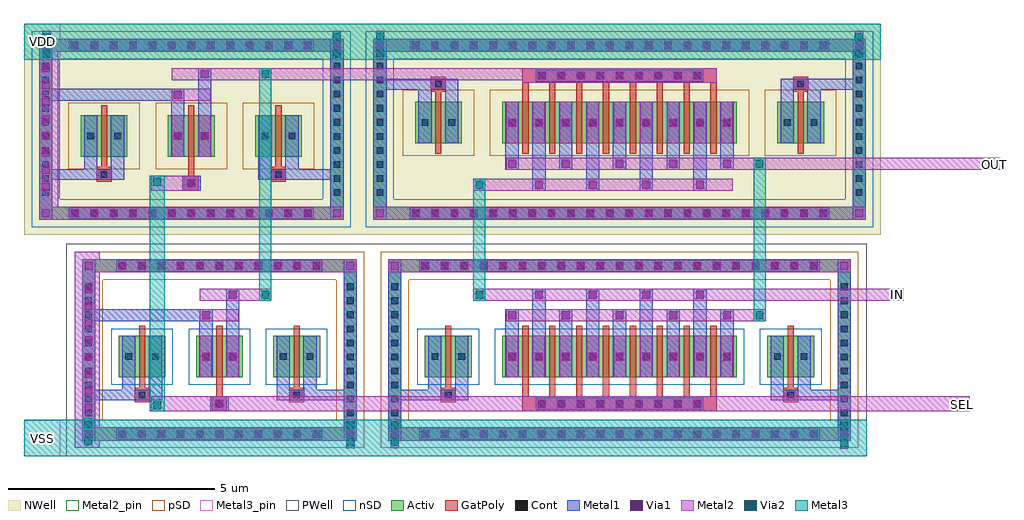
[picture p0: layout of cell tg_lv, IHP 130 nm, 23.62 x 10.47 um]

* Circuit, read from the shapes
.subckt tg_lv IN OUT SEL VDD VSS
XM1 VSS VSS VSS VSS sg13_lv_nmos w=1u l=0.15u m=4
XM2 n1 SEL VSS VSS sg13_lv_nmos w=1u l=0.15u
XM3 IN SEL OUT VSS sg13_lv_nmos w=1u l=0.15u m=8
XM4 VDD VDD VDD VDD sg13_lv_pmos w=1u l=0.15u m=4
XM5 n1 SEL VDD VDD sg13_lv_pmos w=1u l=0.15u
XM6 IN n1 OUT VDD sg13_lv_pmos w=1u l=0.15u m=8
.ends

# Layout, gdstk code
import gdstk
lib = gdstk.Library(unit=1e-6, precision=1e-09)
def R(c, l, rs):  # rectangles x0, y0, x1, y1
    for r in rs: c.add(gdstk.rectangle(r[:2], r[2:], *l))
def A(c, l, x, y, w, h, nx, ny, dx, dy):  # array of equal rectangles
    R(c, l, [(x+i*dx, y+j*dy, x+i*dx+w, y+j*dy+h) for i in range(nx) for j in range(ny)])
def P(c, l, *ps):  # polygons
    for p in ps: c.add(gdstk.Polygon(p, *l))
Activ = (1, 0)
GatPoly = (5, 0)
Cont = (6, 0)
nSD = (7, 0)
Metal1 = (8, 0)
Metal2 = (10, 0)
Metal2_pin = (10, 2)
pSD = (14, 0)
Via1 = (19, 0)
Via2 = (29, 0)
Metal3 = (30, 0)
Metal3_pin = (30, 2)
NWell = (31, 0)
PWell = (46, 0)

via_stack_1 = lib.new_cell('via_stack$1')
R(via_stack_1, Metal2, [(-0.1,-0.35,0.1,0.35)])
R(via_stack_1, Via2, [(-0.095,-0.3,0.095,-0.11), (-0.095,0.11,0.095,0.3)])
R(via_stack_1, Metal3, [(-0.1,-0.35,0.1,0.35)])

via_stack = lib.new_cell('via_stack')
R(via_stack, Metal1, [(-0.105,-1.58,0.105,1.58)])
R(via_stack, Metal2, [(-0.1,-1.58,0.1,1.58)])
A(via_stack, Via1, -0.095, -1.53, 0.19, 0.19, 1, 8, 0, 0.41)

tg_lv = lib.new_cell('tg_lv')
A(tg_lv, Activ, -12.195, -2.194, 0.32, 0.32, 11, 2, 0.47, 4.068)
A(tg_lv, Activ, -4.86, -2.194, 0.32, 0.32, 21, 2, 0.47, 4.068)
A(tg_lv, Activ, -13.011, -1.69, 0.32, 0.32, 1, 10, 0, 0.34)
A(tg_lv, Activ, -6.679, -1.69, 0.32, 0.32, 1, 10, 0, 0.34)
A(tg_lv, Activ, -5.6, -1.69, 0.32, 0.32, 1, 10, 0, 0.34)
A(tg_lv, Activ, 5.28, -1.69, 0.32, 0.32, 1, 10, 0, 0.34)
A(tg_lv, Activ, -12.12, -0.662, 1.13, 1, 3, 1, 1.87, 0)
A(tg_lv, Activ, -13.345, 3.146, 0.32, 0.32, 13, 2, 0.47, 4.068)
A(tg_lv, Activ, -5.095, 3.146, 0.32, 0.32, 22, 2, 0.47, 4.068)
A(tg_lv, Activ, -14.05, 3.65, 0.32, 0.32, 1, 10, 0, 0.34)
A(tg_lv, Activ, -7, 3.65, 0.32, 0.32, 1, 10, 0, 0.34)
A(tg_lv, Activ, -5.96, 3.65, 0.32, 0.32, 1, 10, 0, 0.34)
A(tg_lv, Activ, 5.64, 3.65, 0.32, 0.32, 1, 10, 0, 0.34)
A(tg_lv, Activ, -13.04, 4.678, 1.13, 1, 3, 1, 2.11, 0)
R(tg_lv, Activ, [(-12.195,-2.194,-7.175,-1.874), (-4.86,-2.194,4.86,-1.874), (-13.011,-1.69,-12.691,1.69), (-6.679,-1.69,-6.359,1.69), (-5.6,-1.69,-5.28,1.69), (5.28,-1.69,5.6,1.69), (-4.71,-0.662,-3.58,0.338), (-2.84,-0.662,2.84,0.338), (3.58,-0.662,4.71,0.338), (-12.195,1.874,-7.175,2.194), (-4.86,1.874,4.86,2.194), (-13.345,3.146,-7.385,3.466), (-5.095,3.146,5.095,3.466), (-14.05,3.65,-13.73,7.03), (-7,3.65,-6.68,7.03), (-5.96,3.65,-5.64,7.03), (5.64,3.65,5.96,7.03), (-4.95,5.002,-3.82,6.002), (-2.84,5.002,2.84,6.002), (3.82,5.002,4.95,6.002), (-13.345,7.214,-7.385,7.534), (-5.095,7.214,5.095,7.534)])
P(tg_lv, Activ, [(-5.6,-2.194),(-5.6,-1.874),(-5.28,-1.874),(5.28,-1.874),(5.28,1.874),(-5.28,1.874),(-5.28,-1.874),(-5.6,-1.874),(-5.6,2.194),(5.6,2.194),(5.6,-2.194)],
  [(-13.011,-2.194),(-13.011,-1.874),(-12.691,-1.874),(-6.679,-1.874),(-6.679,1.874),(-12.691,1.874),(-12.691,-1.874),(-13.011,-1.874),(-13.011,2.194),(-6.359,2.194),(-6.359,-2.194)],
  [(-14.05,3.146),(-14.05,3.466),(-13.73,3.466),(-7,3.466),(-7,7.214),(-13.73,7.214),(-13.73,3.466),(-14.05,3.466),(-14.05,7.534),(-6.68,7.534),(-6.68,3.146)],
  [(-5.96,3.146),(-5.96,7.214),(-5.64,7.214),(-5.64,3.466),(5.64,3.466),(5.64,7.214),(-5.64,7.214),(-5.96,7.214),(-5.96,7.534),(5.96,7.534),(5.96,3.146)])
A(tg_lv, GatPoly, -2.35, -1.122, 0.15, 0.21, 8, 2, 0.65, 7.374)
A(tg_lv, GatPoly, -11.63, -0.912, 0.15, 1.5, 3, 1, 1.87, 0)
A(tg_lv, GatPoly, -2.35, -0.912, 0.15, 1.5, 8, 2, 0.65, 5.664)
A(tg_lv, GatPoly, -12.55, 4.428, 0.15, 1.5, 3, 1, 2.11, 0)
R(tg_lv, GatPoly, [(-9.865,-1.482,-9.505,-1.122), (-9.865,-1.482,-9.505,-1.122), (-9.865,-1.482,-9.505,-1.122), (-9.865,-1.482,-9.505,-1.122), (-2.35,-1.482,2.35,-1.122), (-2.35,-1.482,2.35,-1.122), (-2.06,-1.482,-1.7,-1.122), (-2.06,-1.482,-1.7,-1.122), (-1.59,-1.482,-1.23,-1.122), (-1.59,-1.482,-1.23,-1.122), (-1.12,-1.482,-0.76,-1.122), (-1.12,-1.482,-0.76,-1.122), (-0.65,-1.482,-0.29,-1.122), (-0.65,-1.482,-0.29,-1.122), (-0.18,-1.482,0.18,-1.122), (-0.18,-1.482,0.18,-1.122), (0.29,-1.482,0.65,-1.122), (0.29,-1.482,0.65,-1.122), (0.76,-1.482,1.12,-1.122), (0.76,-1.482,1.12,-1.122), (1.23,-1.482,1.59,-1.122), (1.23,-1.482,1.59,-1.122), (1.7,-1.482,2.06,-1.122), (1.7,-1.482,2.06,-1.122), (-11.735,-1.272,-11.375,-0.912), (-11.735,-1.272,-11.375,-0.912), (-7.995,-1.272,-7.635,-0.912), (-7.995,-1.272,-7.635,-0.912), (-4.325,-1.272,-3.965,-0.912), (-4.325,-1.272,-3.965,-0.912), (3.965,-1.272,4.325,-0.912), (3.965,-1.272,4.325,-0.912), (-9.76,-1.122,-9.61,-0.912), (-4.22,-0.912,-4.07,0.588), (4.07,-0.912,4.22,0.588), (-10.545,3.858,-10.185,4.218), (-10.545,3.858,-10.185,4.218), (-10.545,3.858,-10.185,4.218), (-10.545,3.858,-10.185,4.218), (-12.655,4.068,-12.295,4.428), (-12.655,4.068,-12.295,4.428), (-8.435,4.068,-8.075,4.428), (-8.435,4.068,-8.075,4.428), (-10.44,4.218,-10.29,4.428), (-4.46,4.752,-4.31,6.252), (4.31,4.752,4.46,6.252), (-4.565,6.252,-4.205,6.612), (-4.565,6.252,-4.205,6.612), (4.205,6.252,4.565,6.612), (4.205,6.252,4.565,6.612), (-2.35,6.462,2.35,6.822), (-2.35,6.462,2.35,6.822), (-2.06,6.462,-1.7,6.822), (-2.06,6.462,-1.7,6.822), (-1.59,6.462,-1.23,6.822), (-1.59,6.462,-1.23,6.822), (-1.12,6.462,-0.76,6.822), (-1.12,6.462,-0.76,6.822), (-0.65,6.462,-0.29,6.822), (-0.65,6.462,-0.29,6.822), (-0.18,6.462,0.18,6.822), (-0.18,6.462,0.18,6.822), (0.29,6.462,0.65,6.822), (0.29,6.462,0.65,6.822), (0.76,6.462,1.12,6.822), (0.76,6.462,1.12,6.822), (1.23,6.462,1.59,6.822), (1.23,6.462,1.59,6.822), (1.7,6.462,2.06,6.822), (1.7,6.462,2.06,6.822)])
A(tg_lv, Cont, -12.115, -2.114, 0.16, 0.16, 11, 2, 0.47, 4.068)
A(tg_lv, Cont, -4.78, -2.114, 0.16, 0.16, 21, 2, 0.47, 4.068)
A(tg_lv, Cont, -12.931, -1.61, 0.16, 0.16, 1, 10, 0, 0.34)
A(tg_lv, Cont, -6.599, -1.61, 0.16, 0.16, 1, 10, 0, 0.34)
A(tg_lv, Cont, -5.52, -1.61, 0.16, 0.16, 1, 10, 0, 0.34)
A(tg_lv, Cont, 5.36, -1.61, 0.16, 0.16, 1, 10, 0, 0.34)
A(tg_lv, Cont, -2.68, -0.242, 0.16, 0.16, 9, 2, 0.65, 5.664)
A(tg_lv, Cont, -13.265, 3.226, 0.16, 0.16, 13, 2, 0.47, 4.068)
A(tg_lv, Cont, -5.015, 3.226, 0.16, 0.16, 22, 2, 0.47, 4.068)
A(tg_lv, Cont, -13.97, 3.73, 0.16, 0.16, 1, 10, 0, 0.34)
A(tg_lv, Cont, -6.92, 3.73, 0.16, 0.16, 1, 10, 0, 0.34)
A(tg_lv, Cont, -5.88, 3.73, 0.16, 0.16, 1, 10, 0, 0.34)
A(tg_lv, Cont, 5.72, 3.73, 0.16, 0.16, 1, 10, 0, 0.34)
R(tg_lv, Cont, [(-9.765,-1.382,-9.605,-1.222), (-9.765,-1.382,-9.605,-1.222), (-1.96,-1.382,-1.8,-1.222), (-1.96,-1.382,-1.8,-1.222), (-1.49,-1.382,-1.33,-1.222), (-1.49,-1.382,-1.33,-1.222), (-1.02,-1.382,-0.86,-1.222), (-1.02,-1.382,-0.86,-1.222), (-0.55,-1.382,-0.39,-1.222), (-0.55,-1.382,-0.39,-1.222), (-0.08,-1.382,0.08,-1.222), (-0.08,-1.382,0.08,-1.222), (0.39,-1.382,0.55,-1.222), (0.39,-1.382,0.55,-1.222), (0.86,-1.382,1.02,-1.222), (0.86,-1.382,1.02,-1.222), (1.33,-1.382,1.49,-1.222), (1.33,-1.382,1.49,-1.222), (1.8,-1.382,1.96,-1.222), (1.8,-1.382,1.96,-1.222), (-11.635,-1.172,-11.475,-1.012), (-7.895,-1.172,-7.735,-1.012), (-4.225,-1.172,-4.065,-1.012), (4.065,-1.172,4.225,-1.012), (-11.96,-0.242,-11.8,-0.082), (-11.31,-0.242,-11.15,-0.082), (-10.09,-0.242,-9.93,-0.082), (-9.44,-0.242,-9.28,-0.082), (-8.22,-0.242,-8.06,-0.082), (-7.57,-0.242,-7.41,-0.082), (-4.55,-0.242,-4.39,-0.082), (-3.9,-0.242,-3.74,-0.082), (3.74,-0.242,3.9,-0.082), (4.39,-0.242,4.55,-0.082), (-10.445,3.958,-10.285,4.118), (-10.445,3.958,-10.285,4.118), (-12.555,4.168,-12.395,4.328), (-8.335,4.168,-8.175,4.328), (-12.88,5.098,-12.72,5.258), (-12.23,5.098,-12.07,5.258), (-10.77,5.098,-10.61,5.258), (-10.12,5.098,-9.96,5.258), (-8.66,5.098,-8.5,5.258), (-8.01,5.098,-7.85,5.258), (-4.79,5.422,-4.63,5.582), (-4.14,5.422,-3.98,5.582), (3.98,5.422,4.14,5.582), (4.63,5.422,4.79,5.582), (-4.465,6.352,-4.305,6.512), (4.305,6.352,4.465,6.512), (-1.96,6.562,-1.8,6.722), (-1.96,6.562,-1.8,6.722), (-1.49,6.562,-1.33,6.722), (-1.49,6.562,-1.33,6.722), (-1.02,6.562,-0.86,6.722), (-1.02,6.562,-0.86,6.722), (-0.55,6.562,-0.39,6.722), (-0.55,6.562,-0.39,6.722), (-0.08,6.562,0.08,6.722), (-0.08,6.562,0.08,6.722), (0.39,6.562,0.55,6.722), (0.39,6.562,0.55,6.722), (0.86,6.562,1.02,6.722), (0.86,6.562,1.02,6.722), (1.33,6.562,1.49,6.722), (1.33,6.562,1.49,6.722), (1.8,6.562,1.96,6.722), (1.8,6.562,1.96,6.722)])
A(tg_lv, nSD, -12.3, -0.842, 1.49, 1.36, 3, 1, 1.87, 0)
R(tg_lv, nSD, [(-4.89,-0.842,-3.4,0.518), (-3.02,-0.842,3.02,0.518), (3.4,-0.842,4.89,0.518)])
P(tg_lv, nSD, [(-14.23,2.966),(-14.23,3.646),(-13.55,3.646),(-7.18,3.646),(-7.18,7.034),(-13.55,7.034),(-13.55,3.646),(-14.23,3.646),(-14.23,7.714),(-6.5,7.714),(-6.5,2.966)],
  [(-6.14,2.966),(-6.14,7.034),(-5.46,7.034),(-5.46,3.646),(5.46,3.646),(5.46,7.034),(-5.46,7.034),(-6.14,7.034),(-6.14,7.714),(6.14,7.714),(6.14,2.966)])
A(tg_lv, Metal1, -12.18, -2.179, 0.29, 0.29, 11, 2, 0.47, 4.068)
A(tg_lv, Metal1, -4.845, -2.179, 0.29, 0.29, 21, 2, 0.47, 4.068)
A(tg_lv, Metal1, -12.981, -1.66, 0.26, 0.26, 1, 10, 0, 0.34)
A(tg_lv, Metal1, -6.649, -1.66, 0.26, 0.26, 1, 10, 0, 0.34)
A(tg_lv, Metal1, -5.57, -1.66, 0.26, 0.26, 1, 10, 0, 0.34)
A(tg_lv, Metal1, 5.31, -1.66, 0.26, 0.26, 1, 10, 0, 0.34)
A(tg_lv, Metal1, -2.76, -0.662, 0.32, 1, 9, 2, 0.65, 5.664)
A(tg_lv, Metal1, -2.73, -0.292, 0.26, 0.26, 9, 2, 0.65, 5.664)
A(tg_lv, Metal1, -2.76, 0.338, 0.32, 0.645, 5, 2, 1.3, 4.019)
A(tg_lv, Metal1, -2.11, 0.338, 0.32, 1.145, 4, 2, 1.3, 3.519)
A(tg_lv, Metal1, -2.745, 0.693, 0.29, 0.29, 5, 2, 1.3, 3.664)
A(tg_lv, Metal1, -2.095, 1.193, 0.29, 0.29, 4, 2, 1.3, 2.664)
A(tg_lv, Metal1, -13.33, 3.161, 0.29, 0.29, 13, 2, 0.47, 4.068)
A(tg_lv, Metal1, -5.08, 3.161, 0.29, 0.29, 22, 2, 0.47, 4.068)
A(tg_lv, Metal1, -14.02, 3.68, 0.26, 0.26, 1, 10, 0, 0.34)
A(tg_lv, Metal1, -6.97, 3.68, 0.26, 0.26, 1, 10, 0, 0.34)
A(tg_lv, Metal1, -5.93, 3.68, 0.26, 0.26, 1, 10, 0, 0.34)
A(tg_lv, Metal1, 5.67, 3.68, 0.26, 0.26, 1, 10, 0, 0.34)
R(tg_lv, Metal1, [(-13.011,-2.194,-12.691,-1.874), (-6.679,-2.194,-6.359,-1.874), (-5.6,-2.194,-5.28,-1.874), (5.28,-2.194,5.6,-1.874), (-12.996,-2.179,-12.706,-1.889), (-12.996,-2.179,-12.706,-1.889), (-12.18,-2.179,-7.19,-1.889), (-6.664,-2.179,-6.374,-1.889), (-6.664,-2.179,-6.374,-1.889), (-5.585,-2.179,-5.295,-1.889), (-5.585,-2.179,-5.295,-1.889), (-4.845,-2.179,4.845,-1.889), (5.295,-2.179,5.585,-1.889), (5.295,-2.179,5.585,-1.889), (-13.011,-1.874,-12.691,1.874), (-6.679,-1.874,-6.359,1.874), (-5.6,-1.874,-5.28,1.874), (5.28,-1.874,5.6,1.874), (-9.91,-1.482,-9.46,-1.122), (-9.83,-1.447,-9.54,-1.157), (-9.83,-1.447,-9.54,-1.157), (-9.83,-1.447,-9.54,-1.157), (-9.83,-1.447,-9.54,-1.157), (-2.025,-1.447,-1.735,-1.157), (-2.025,-1.447,-1.735,-1.157), (-2.025,-1.447,2.025,-1.157), (-2.025,-1.447,2.025,-1.157), (-1.555,-1.447,-1.265,-1.157), (-1.555,-1.447,-1.265,-1.157), (-1.085,-1.447,-0.795,-1.157), (-1.085,-1.447,-0.795,-1.157), (-0.615,-1.447,-0.325,-1.157), (-0.615,-1.447,-0.325,-1.157), (-0.145,-1.447,0.145,-1.157), (-0.145,-1.447,0.145,-1.157), (0.325,-1.447,0.615,-1.157), (0.325,-1.447,0.615,-1.157), (0.795,-1.447,1.085,-1.157), (0.795,-1.447,1.085,-1.157), (1.265,-1.447,1.555,-1.157), (1.265,-1.447,1.555,-1.157), (1.735,-1.447,2.025,-1.157), (1.735,-1.447,2.025,-1.157), (-13.011,-1.222,-11.685,-0.962), (-12.04,-1.222,-11.685,-0.962), (-12.04,-1.222,-11.72,-0.662), (-11.685,-1.222,-11.425,-0.962), (-11.425,-1.222,-11.07,-0.962), (-11.39,-1.222,-11.07,-0.662), (-8.3,-1.222,-7.945,-0.962), (-8.3,-1.222,-7.98,-0.662), (-7.945,-1.222,-7.685,-0.962), (-7.945,-1.222,-6.359,-0.962), (-7.685,-1.222,-7.33,-0.962), (-7.65,-1.222,-7.33,-0.662), (-5.6,-1.222,-4.275,-0.962), (-4.63,-1.222,-4.275,-0.962), (-4.63,-1.222,-4.31,-0.662), (-4.275,-1.222,-4.015,-0.962), (-4.015,-1.222,-3.66,-0.962), (-3.98,-1.222,-3.66,-0.662), (3.66,-1.222,4.015,-0.962), (3.66,-1.222,3.98,-0.662), (4.015,-1.222,4.275,-0.962), (4.015,-1.222,5.6,-0.962), (4.275,-1.222,4.63,-0.962), (4.31,-1.222,4.63,-0.662), (-12.04,-0.662,-11.72,0.338), (-11.39,-0.662,-11.07,0.338), (-10.17,-0.662,-9.85,0.338), (-9.52,-0.662,-9.2,0.338), (-8.3,-0.662,-7.98,0.338), (-7.65,-0.662,-7.33,0.338), (-4.63,-0.662,-4.31,0.338), (-3.98,-0.662,-3.66,0.338), (3.66,-0.662,3.98,0.338), (4.31,-0.662,4.63,0.338), (-10.155,-0.307,-9.865,-0.017), (-10.155,-0.307,-9.865,-0.017), (-9.505,-0.307,-9.215,-0.017), (-9.505,-0.307,-9.215,-0.017), (-2.745,-0.307,-2.455,-0.017), (-2.745,-0.307,-2.455,-0.017), (-2.095,-0.307,-1.805,-0.017), (-2.095,-0.307,-1.805,-0.017), (-1.445,-0.307,-1.155,-0.017), (-1.445,-0.307,-1.155,-0.017), (-0.795,-0.307,-0.505,-0.017), (-0.795,-0.307,-0.505,-0.017), (-0.145,-0.307,0.145,-0.017), (-0.145,-0.307,0.145,-0.017), (0.505,-0.307,0.795,-0.017), (0.505,-0.307,0.795,-0.017), (1.155,-0.307,1.445,-0.017), (1.155,-0.307,1.445,-0.017), (1.805,-0.307,2.095,-0.017), (1.805,-0.307,2.095,-0.017), (2.455,-0.307,2.745,-0.017), (2.455,-0.307,2.745,-0.017), (-12.01,-0.292,-11.75,-0.032), (-11.36,-0.292,-11.1,-0.032), (-10.14,-0.292,-9.88,-0.032), (-9.49,-0.292,-9.23,-0.032), (-8.27,-0.292,-8.01,-0.032), (-7.62,-0.292,-7.36,-0.032), (-4.6,-0.292,-4.34,-0.032), (-3.95,-0.292,-3.69,-0.032), (3.69,-0.292,3.95,-0.032), (4.34,-0.292,4.6,-0.032), (-10.17,0.338,-9.85,0.983), (-9.52,0.338,-9.2,1.483), (-13.011,0.693,-10.155,0.983), (-10.155,0.693,-9.865,0.983), (-10.155,0.693,-9.865,0.983), (-10.155,0.693,-9.865,0.983), (-9.505,1.193,-9.215,1.483), (-13.011,1.874,-12.691,2.194), (-6.679,1.874,-6.359,2.194), (-5.6,1.874,-5.28,2.194), (5.28,1.874,5.6,2.194), (-12.996,1.889,-12.706,2.179), (-12.996,1.889,-12.706,2.179), (-12.18,1.889,-7.19,2.179), (-6.664,1.889,-6.374,2.179), (-6.664,1.889,-6.374,2.179), (-5.585,1.889,-5.295,2.179), (-5.585,1.889,-5.295,2.179), (-4.845,1.889,4.845,2.179), (5.295,1.889,5.585,2.179), (5.295,1.889,5.585,2.179), (-14.05,3.146,-13.73,3.466), (-7,3.146,-6.68,3.466), (-5.96,3.146,-5.64,3.466), (5.64,3.146,5.96,3.466), (-14.035,3.161,-13.745,3.451), (-14.035,3.161,-13.745,3.451), (-13.33,3.161,-7.4,3.451), (-6.985,3.161,-6.695,3.451), (-6.985,3.161,-6.695,3.451), (-5.945,3.161,-5.655,3.451), (-5.945,3.161,-5.655,3.451), (-5.08,3.161,5.08,3.451), (5.655,3.161,5.945,3.451), (5.655,3.161,5.945,3.451), (-14.05,3.466,-13.73,7.214), (-7,3.466,-6.68,7.214), (-5.96,3.466,-5.64,7.214), (5.64,3.466,5.96,7.214), (-10.59,3.858,-10.14,4.218), (-10.51,3.893,-10.22,4.183), (-10.51,3.893,-10.22,4.183), (-10.51,3.893,-10.22,4.183), (-10.51,3.893,-10.22,4.183), (-14.05,4.118,-12.605,4.378), (-12.96,4.118,-12.605,4.378), (-12.96,4.118,-12.64,4.678), (-12.605,4.118,-12.345,4.378), (-12.345,4.118,-11.99,4.378), (-12.31,4.118,-11.99,4.678), (-8.74,4.118,-8.385,4.378), (-8.74,4.118,-8.42,4.678), (-8.385,4.118,-8.125,4.378), (-8.385,4.118,-6.68,4.378), (-8.125,4.118,-7.77,4.378), (-8.09,4.118,-7.77,4.678), (-12.96,4.678,-12.64,5.678), (-12.31,4.678,-11.99,5.678), (-10.85,4.678,-10.53,5.678), (-10.2,4.678,-9.88,5.678), (-8.74,4.678,-8.42,5.678), (-8.09,4.678,-7.77,5.678), (-4.87,5.002,-4.55,6.002), (-4.22,5.002,-3.9,6.002), (3.9,5.002,4.22,6.002), (4.55,5.002,4.87,6.002), (-10.835,5.033,-10.545,5.323), (-10.835,5.033,-10.545,5.323), (-10.185,5.033,-9.895,5.323), (-10.185,5.033,-9.895,5.323), (-12.93,5.048,-12.67,5.308), (-12.28,5.048,-12.02,5.308), (-10.82,5.048,-10.56,5.308), (-10.17,5.048,-9.91,5.308), (-8.71,5.048,-8.45,5.308), (-8.06,5.048,-7.8,5.308), (-2.745,5.357,-2.455,5.647), (-2.745,5.357,-2.455,5.647), (-2.095,5.357,-1.805,5.647), (-2.095,5.357,-1.805,5.647), (-1.445,5.357,-1.155,5.647), (-1.445,5.357,-1.155,5.647), (-0.795,5.357,-0.505,5.647), (-0.795,5.357,-0.505,5.647), (-0.145,5.357,0.145,5.647), (-0.145,5.357,0.145,5.647), (0.505,5.357,0.795,5.647), (0.505,5.357,0.795,5.647), (1.155,5.357,1.445,5.647), (1.155,5.357,1.445,5.647), (1.805,5.357,2.095,5.647), (1.805,5.357,2.095,5.647), (2.455,5.357,2.745,5.647), (2.455,5.357,2.745,5.647), (-4.84,5.372,-4.58,5.632), (-4.19,5.372,-3.93,5.632), (3.93,5.372,4.19,5.632), (4.58,5.372,4.84,5.632), (-10.85,5.678,-10.53,6.323), (-10.2,5.678,-9.88,6.823), (-4.87,6.002,-4.55,6.562), (-4.22,6.002,-3.9,6.562), (3.9,6.002,4.22,6.562), (4.55,6.002,4.87,6.562), (-14.05,6.033,-10.835,6.323), (-10.835,6.033,-10.545,6.323), (-10.835,6.033,-10.545,6.323), (-10.835,6.033,-10.545,6.323), (-5.96,6.302,-4.515,6.562), (-4.87,6.302,-4.515,6.562), (-4.515,6.302,-4.255,6.562), (-4.255,6.302,-3.9,6.562), (3.9,6.302,4.255,6.562), (4.255,6.302,4.515,6.562), (4.255,6.302,5.96,6.562), (4.515,6.302,4.87,6.562), (-2.025,6.497,-1.735,6.787), (-2.025,6.497,-1.735,6.787), (-2.025,6.497,2.025,6.787), (-2.025,6.497,2.025,6.787), (-1.555,6.497,-1.265,6.787), (-1.555,6.497,-1.265,6.787), (-1.085,6.497,-0.795,6.787), (-1.085,6.497,-0.795,6.787), (-0.615,6.497,-0.325,6.787), (-0.615,6.497,-0.325,6.787), (-0.145,6.497,0.145,6.787), (-0.145,6.497,0.145,6.787), (0.325,6.497,0.615,6.787), (0.325,6.497,0.615,6.787), (0.795,6.497,1.085,6.787), (0.795,6.497,1.085,6.787), (1.265,6.497,1.555,6.787), (1.265,6.497,1.555,6.787), (1.735,6.497,2.025,6.787), (1.735,6.497,2.025,6.787), (-10.185,6.533,-9.895,6.823), (-14.05,7.214,-13.73,7.534), (-7,7.214,-6.68,7.534), (-5.96,7.214,-5.64,7.534), (5.64,7.214,5.96,7.534), (-14.035,7.229,-13.745,7.519), (-14.035,7.229,-13.745,7.519), (-13.33,7.229,-7.4,7.519), (-6.985,7.229,-6.695,7.519), (-6.985,7.229,-6.695,7.519), (-5.945,7.229,-5.655,7.519), (-5.945,7.229,-5.655,7.519), (-5.08,7.229,5.08,7.519), (5.655,7.229,5.945,7.519), (5.655,7.229,5.945,7.519)])
A(tg_lv, Metal2, -12.18, -2.179, 0.29, 0.29, 11, 2, 0.47, 4.068)
A(tg_lv, Metal2, -4.845, -2.179, 0.29, 0.29, 21, 2, 0.47, 4.068)
A(tg_lv, Metal2, -2.745, -0.662, 0.29, 1, 9, 2, 0.65, 5.664)
A(tg_lv, Metal2, -2.745, -0.307, 0.29, 0.29, 9, 2, 0.65, 5.664)
A(tg_lv, Metal2, -2.745, 0.693, 0.29, 0.29, 5, 2, 1.3, 3.664)
A(tg_lv, Metal2, -2.095, 1.193, 0.29, 0.29, 4, 2, 1.3, 2.664)
A(tg_lv, Metal2, -13.33, 3.161, 0.29, 0.29, 13, 2, 0.47, 4.068)
A(tg_lv, Metal2, -5.08, 3.161, 0.29, 0.29, 22, 2, 0.47, 4.068)
R(tg_lv, Metal2, [(-13.191,-2.374,-12.585,2.374), (-13.011,-2.194,-12.691,-1.874), (-13.011,-2.194,-12.691,-1.874), (-12.691,-2.194,-6.679,-1.874), (-6.679,-2.194,-6.359,-1.874), (-6.679,-2.194,-6.359,-1.874), (-5.6,-2.194,-5.28,-1.874), (-5.6,-2.194,-5.28,-1.874), (-5.28,-2.194,5.28,-1.874), (5.28,-2.194,5.6,-1.874), (5.28,-2.194,5.6,-1.874), (-12.996,-2.179,-12.706,-1.889), (-6.664,-2.179,-6.374,-1.889), (-5.585,-2.179,-5.295,-1.889), (5.295,-2.179,5.585,-1.889), (-11.335,-1.482,-11.045,-1.192), (-11.335,-1.482,-9.865,-1.122), (-9.865,-1.482,2.35,-1.122), (-9.865,-1.482,-9.505,-1.122), (-9.865,-1.482,-9.505,-1.122), (-2.35,-1.482,2.35,-1.122), (-2.35,-1.482,2.35,-1.122), (2.35,-1.482,8.475,-1.122), (-9.83,-1.447,-9.54,-1.157), (-9.83,-1.447,-9.54,-1.157), (-2.025,-1.447,-1.735,-1.157), (-2.025,-1.447,-1.735,-1.157), (-1.555,-1.447,-1.265,-1.157), (-1.555,-1.447,-1.265,-1.157), (-1.085,-1.447,-0.795,-1.157), (-1.085,-1.447,-0.795,-1.157), (-0.615,-1.447,-0.325,-1.157), (-0.615,-1.447,-0.325,-1.157), (-0.145,-1.447,0.145,-1.157), (-0.145,-1.447,0.145,-1.157), (0.325,-1.447,0.615,-1.157), (0.325,-1.447,0.615,-1.157), (0.795,-1.447,1.085,-1.157), (0.795,-1.447,1.085,-1.157), (1.265,-1.447,1.555,-1.157), (1.265,-1.447,1.555,-1.157), (1.735,-1.447,2.025,-1.157), (1.735,-1.447,2.025,-1.157), (-10.155,-0.662,-9.865,0.338), (-9.505,-0.662,-9.215,0.338), (-10.155,-0.307,-9.865,-0.017), (-9.505,-0.307,-9.215,-0.017), (-10.155,0.693,-9.865,0.983), (-10.155,0.693,-9.865,0.983), (-10.155,0.693,-9.215,0.983), (-2.745,0.693,2.745,0.983), (2.745,0.693,3.535,0.983), (3.245,0.693,3.535,0.983), (-10.155,1.193,-9.215,1.483), (-9.505,1.193,-9.215,1.483), (-9.215,1.193,-8.425,1.483), (-8.715,1.193,-8.425,1.483), (-3.535,1.193,-3.245,1.483), (-3.535,1.193,-2.745,1.483), (-2.745,1.193,2.745,1.483), (-2.745,1.193,6.88,1.483), (-13.011,1.874,-12.691,2.194), (-13.011,1.874,-12.691,2.194), (-12.691,1.874,-6.679,2.194), (-6.679,1.874,-6.359,2.194), (-6.679,1.874,-6.359,2.194), (-5.6,1.874,-5.28,2.194), (-5.6,1.874,-5.28,2.194), (-5.28,1.874,5.28,2.194), (5.28,1.874,5.6,2.194), (5.28,1.874,5.6,2.194), (-12.996,1.889,-12.706,2.179), (-6.664,1.889,-6.374,2.179), (-5.585,1.889,-5.295,2.179), (5.295,1.889,5.585,2.179), (-14.05,3.146,-13.73,3.466), (-14.05,3.146,-13.73,3.466), (-14.05,3.146,-13.59,7.534), (-13.73,3.146,-7,3.466), (-7,3.146,-6.68,3.466), (-7,3.146,-6.68,3.466), (-5.96,3.146,-5.64,3.466), (-5.96,3.146,-5.64,3.466), (-5.64,3.146,5.64,3.466), (5.64,3.146,5.96,3.466), (5.64,3.146,5.96,3.466), (-14.035,3.161,-13.745,3.451), (-6.985,3.161,-6.695,3.451), (-5.945,3.161,-5.655,3.451), (5.655,3.161,5.945,3.451), (-3.535,3.857,-3.245,4.147), (-3.535,3.857,-2.745,4.147), (-2.745,3.857,2.745,4.147), (-11.335,3.858,-10.545,4.218), (-10.545,3.858,-10.185,4.218), (-10.545,3.858,-10.185,4.218), (-10.51,3.893,-10.22,4.183), (-10.51,3.893,-10.22,4.183), (-11.335,3.928,-11.045,4.218), (-2.745,4.357,2.745,4.647), (2.745,4.357,3.535,4.647), (2.745,4.357,9.21,4.647), (3.245,4.357,3.535,4.647), (-10.835,4.678,-10.545,5.678), (-10.185,4.678,-9.895,5.678), (-10.835,5.033,-10.545,5.323), (-10.185,5.033,-9.895,5.323), (-10.835,6.033,-10.545,6.323), (-10.835,6.033,-10.545,6.323), (-10.835,6.033,-9.895,6.323), (-2.35,6.462,2.35,6.822), (-2.35,6.462,2.35,6.822), (-2.025,6.497,-1.735,6.787), (-2.025,6.497,-1.735,6.787), (-1.555,6.497,-1.265,6.787), (-1.555,6.497,-1.265,6.787), (-1.085,6.497,-0.795,6.787), (-1.085,6.497,-0.795,6.787), (-0.615,6.497,-0.325,6.787), (-0.615,6.497,-0.325,6.787), (-0.145,6.497,0.145,6.787), (-0.145,6.497,0.145,6.787), (0.325,6.497,0.615,6.787), (0.325,6.497,0.615,6.787), (0.795,6.497,1.085,6.787), (0.795,6.497,1.085,6.787), (1.265,6.497,1.555,6.787), (1.265,6.497,1.555,6.787), (1.735,6.497,2.025,6.787), (1.735,6.497,2.025,6.787), (-10.835,6.533,-9.895,6.823), (-10.185,6.533,-9.895,6.823), (-9.895,6.533,-8.425,6.823), (-8.96,6.533,-2.125,6.823), (-8.715,6.533,-8.425,6.823), (-14.05,7.214,-13.73,7.534), (-14.05,7.214,-13.73,7.534), (-13.73,7.214,-7,7.534), (-7,7.214,-6.68,7.534), (-7,7.214,-6.68,7.534), (-5.96,7.214,-5.64,7.534), (-5.96,7.214,-5.64,7.534), (-5.64,7.214,5.64,7.534), (5.64,7.214,5.96,7.534), (5.64,7.214,5.96,7.534), (-14.035,7.229,-13.745,7.519), (-6.985,7.229,-6.695,7.519), (-5.945,7.229,-5.655,7.519), (5.655,7.229,5.945,7.519)])
R(tg_lv, Metal2_pin, [(8.16,-1.45,8.44,-1.17), (6.6,1.2,6.88,1.48), (8.93,4.355,9.21,4.635)])
A(tg_lv, pSD, -13.34, 4.378, 1.73, 1.6, 3, 1, 2.11, 0)
R(tg_lv, pSD, [(-5.25,4.702,-3.52,6.302), (-3.14,4.702,3.14,6.302), (3.52,4.702,5.25,6.302)])
P(tg_lv, pSD, [(-5.78,-2.374),(-5.78,-1.694),(-5.1,-1.694),(5.1,-1.694),(5.1,1.694),(-5.1,1.694),(-5.1,-1.694),(-5.78,-1.694),(-5.78,2.374),(5.78,2.374),(5.78,-2.374)],
  [(-13.191,-2.374),(-13.191,-1.694),(-12.511,-1.694),(-6.859,-1.694),(-6.859,1.694),(-12.511,1.694),(-12.511,-1.694),(-13.191,-1.694),(-13.191,2.374),(-6.179,2.374),(-6.179,-2.374)])
A(tg_lv, Via1, -12.13, -2.129, 0.19, 0.19, 11, 2, 0.47, 4.068)
A(tg_lv, Via1, -4.795, -2.129, 0.19, 0.19, 21, 2, 0.47, 4.068)
A(tg_lv, Via1, -2.695, -0.257, 0.19, 0.19, 9, 2, 0.65, 5.664)
A(tg_lv, Via1, -2.695, 0.743, 0.19, 0.19, 5, 2, 1.3, 3.664)
A(tg_lv, Via1, -2.045, 1.243, 0.19, 0.19, 4, 2, 1.3, 2.664)
A(tg_lv, Via1, -13.28, 3.211, 0.19, 0.19, 13, 2, 0.47, 4.068)
A(tg_lv, Via1, -5.03, 3.211, 0.19, 0.19, 22, 2, 0.47, 4.068)
R(tg_lv, Via1, [(-12.946,-2.129,-12.756,-1.939), (-6.614,-2.129,-6.424,-1.939), (-5.535,-2.129,-5.345,-1.939), (5.345,-2.129,5.535,-1.939), (-9.78,-1.397,-9.59,-1.207), (-9.78,-1.397,-9.59,-1.207), (-1.975,-1.397,-1.785,-1.207), (-1.975,-1.397,-1.785,-1.207), (-1.505,-1.397,-1.315,-1.207), (-1.505,-1.397,-1.315,-1.207), (-1.035,-1.397,-0.845,-1.207), (-1.035,-1.397,-0.845,-1.207), (-0.565,-1.397,-0.375,-1.207), (-0.565,-1.397,-0.375,-1.207), (-0.095,-1.397,0.095,-1.207), (-0.095,-1.397,0.095,-1.207), (0.375,-1.397,0.565,-1.207), (0.375,-1.397,0.565,-1.207), (0.845,-1.397,1.035,-1.207), (0.845,-1.397,1.035,-1.207), (1.315,-1.397,1.505,-1.207), (1.315,-1.397,1.505,-1.207), (1.785,-1.397,1.975,-1.207), (1.785,-1.397,1.975,-1.207), (-10.105,-0.257,-9.915,-0.067), (-9.455,-0.257,-9.265,-0.067), (-10.105,0.743,-9.915,0.933), (-10.105,0.743,-9.915,0.933), (-9.455,1.243,-9.265,1.433), (-12.946,1.939,-12.756,2.129), (-6.614,1.939,-6.424,2.129), (-5.535,1.939,-5.345,2.129), (5.345,1.939,5.535,2.129), (-13.985,3.211,-13.795,3.401), (-6.935,3.211,-6.745,3.401), (-5.895,3.211,-5.705,3.401), (5.705,3.211,5.895,3.401), (-10.46,3.943,-10.27,4.133), (-10.46,3.943,-10.27,4.133), (-10.785,5.083,-10.595,5.273), (-10.135,5.083,-9.945,5.273), (-10.785,6.083,-10.595,6.273), (-10.785,6.083,-10.595,6.273), (-1.975,6.547,-1.785,6.737), (-1.975,6.547,-1.785,6.737), (-1.505,6.547,-1.315,6.737), (-1.505,6.547,-1.315,6.737), (-1.035,6.547,-0.845,6.737), (-1.035,6.547,-0.845,6.737), (-0.565,6.547,-0.375,6.737), (-0.565,6.547,-0.375,6.737), (-0.095,6.547,0.095,6.737), (-0.095,6.547,0.095,6.737), (0.375,6.547,0.565,6.737), (0.375,6.547,0.565,6.737), (0.845,6.547,1.035,6.737), (0.845,6.547,1.035,6.737), (1.315,6.547,1.505,6.737), (1.315,6.547,1.505,6.737), (1.785,6.547,1.975,6.737), (1.785,6.547,1.975,6.737), (-10.135,6.583,-9.945,6.773), (-13.985,7.279,-13.795,7.469), (-6.935,7.279,-6.745,7.469), (-5.895,7.279,-5.705,7.469), (5.705,7.279,5.895,7.469)])
R(tg_lv, Via2, [(-11.285,-1.432,-11.095,-1.242), (3.295,0.743,3.485,0.933), (-8.665,1.243,-8.475,1.433), (-3.485,1.243,-3.295,1.433), (-3.485,3.907,-3.295,4.097), (-11.285,3.978,-11.095,4.168), (3.295,4.407,3.485,4.597), (-8.665,6.583,-8.475,6.773)])
R(tg_lv, Metal3, [(-14.415,-2.574,5.98,-1.685), (-11.37,-1.482,-11.01,4.218), (-11.335,-1.482,-11.045,-1.192), (-11.335,-1.482,-11.045,-1.192), (-11.045,-1.482,-11.01,-1.192), (3.245,0.693,3.535,0.983), (3.245,0.693,3.535,0.983), (3.245,0.693,3.535,4.647), (-8.715,1.193,-8.425,1.483), (-8.715,1.193,-8.425,1.483), (-8.715,1.193,-8.425,6.823), (-3.535,1.193,-3.245,1.483), (-3.535,1.193,-3.245,1.483), (-3.535,1.193,-3.245,4.147), (-3.535,3.857,-3.245,4.147), (-3.535,3.857,-3.245,4.147), (-11.335,3.928,-11.045,4.218), (-11.335,3.928,-11.045,4.218), (-11.045,3.928,-11.01,4.218), (3.245,4.357,3.535,4.647), (3.245,4.357,3.535,4.647), (-8.715,6.533,-8.425,6.823), (-8.715,6.533,-8.425,6.823), (-14.41,7.02,6.32,7.894)])
P(tg_lv, Metal3, [(-8.425,1.193),(-8.425,1.483),(-8.425,1.483),(-8.425,1.193)],
  [(-8.425,6.533),(-8.425,6.823),(-8.425,6.823),(-8.425,6.533)],
  [(-3.245,1.193),(-3.245,1.483),(-3.245,1.483),(-3.245,1.193)],
  [(-3.245,3.857),(-3.245,4.147),(-3.245,4.147),(-3.245,3.857)],
  [(3.535,0.693),(3.535,0.983),(3.535,0.983),(3.535,0.693)],
  [(3.535,4.357),(3.535,4.647),(3.535,4.647),(3.535,4.357)])
R(tg_lv, Metal3_pin, [(-14.41,-2.57,-13.54,-1.7), (-14.405,7.025,-13.535,7.895)])
R(tg_lv, NWell, [(-14.41,2.786,-6.32,7.894), (-6.32,2.786,6.32,7.894)])
R(tg_lv, PWell, [(-13.391,-2.574,-5.979,2.574), (-5.98,-2.574,5.98,2.574)])
tg_lv.add(gdstk.Reference(via_stack_1, (-13.87,7.37)))
tg_lv.add(gdstk.Reference(via_stack_1, (-6.845,7.375)))
tg_lv.add(gdstk.Reference(via_stack_1, (-5.79,7.38)))
tg_lv.add(gdstk.Reference(via_stack_1, (5.795,7.37)))
tg_lv.add(gdstk.Reference(via_stack_1, (5.44,-2.04)))
tg_lv.add(gdstk.Reference(via_stack_1, (-5.44,-2.025)))
tg_lv.add(gdstk.Reference(via_stack_1, (-12.86,-2.01)))
tg_lv.add(gdstk.Reference(via_stack_1, (-6.51,-2.03)))
tg_lv.add(gdstk.Reference(via_stack, (-13.89,5.385)))
tg_lv.add(gdstk.Reference(via_stack, (-12.855,0.035)))
tg_lv.add(gdstk.Label('VSS', (-13.975,-2.135), layer=30, texttype=25))
tg_lv.add(gdstk.Label('VDD', (-13.97,7.46), layer=30, texttype=25))
tg_lv.add(gdstk.Label('IN', (6.74,1.34), layer=10, texttype=25))
tg_lv.add(gdstk.Label('OUT', (9.07,4.495), layer=10, texttype=25))
tg_lv.add(gdstk.Label('SEL', (8.3,-1.31), layer=10, texttype=25))

lib.write_gds('tg_lv.gds')
